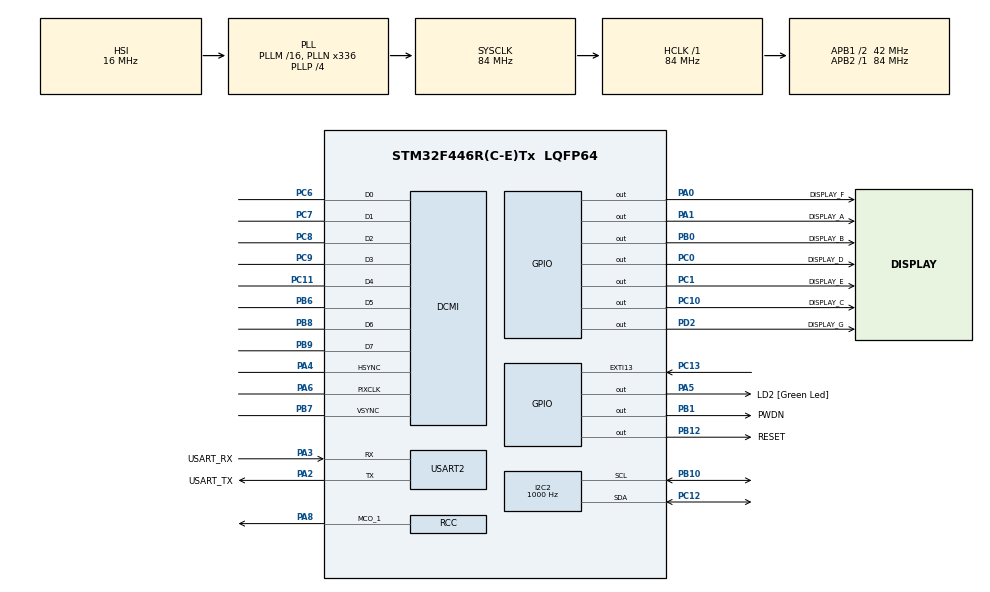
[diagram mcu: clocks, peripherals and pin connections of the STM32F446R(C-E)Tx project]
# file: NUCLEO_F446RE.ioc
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DCMI.JPEGMode=DCMI_JPEG_DISABLE
DCMI.PCKPolarity=DCMI_PCKPOLARITY_RISING
Dma.DCMI.0.Direction=DMA_PERIPH_TO_MEMORY
Dma.DCMI.0.FIFOMode=DMA_FIFOMODE_ENABLE
Dma.DCMI.0.FIFOThreshold=DMA_FIFO_THRESHOLD_FULL
Dma.DCMI.0.Instance=DMA2_Stream1
Dma.DCMI.0.MemBurst=DMA_MBURST_SINGLE
Dma.DCMI.0.MemDataAlignment=DMA_MDATAALIGN_BYTE
Dma.DCMI.0.MemInc=DMA_MINC_ENABLE
Dma.DCMI.0.Mode=DMA_NORMAL
Dma.DCMI.0.PeriphBurst=DMA_PBURST_SINGLE
Dma.DCMI.0.PeriphDataAlignment=DMA_PDATAALIGN_WORD
Dma.DCMI.0.PeriphInc=DMA_PINC_DISABLE
Dma.DCMI.0.Priority=DMA_PRIORITY_VERY_HIGH
Dma.Request0=DCMI
Dma.Request1=USART2_TX
Dma.USART2_TX.1.Direction=DMA_MEMORY_TO_PERIPH
Dma.USART2_TX.1.FIFOMode=DMA_FIFOMODE_ENABLE
Dma.USART2_TX.1.FIFOThreshold=DMA_FIFO_THRESHOLD_FULL
Dma.USART2_TX.1.Instance=DMA1_Stream6
Dma.USART2_TX.1.MemBurst=DMA_MBURST_SINGLE
Dma.USART2_TX.1.MemDataAlignment=DMA_MDATAALIGN_BYTE
Dma.USART2_TX.1.MemInc=DMA_MINC_ENABLE
Dma.USART2_TX.1.Mode=DMA_NORMAL
Dma.USART2_TX.1.PeriphBurst=DMA_PBURST_SINGLE
Dma.USART2_TX.1.PeriphDataAlignment=DMA_PDATAALIGN_BYTE
Dma.USART2_TX.1.PeriphInc=DMA_PINC_DISABLE
Dma.USART2_TX.1.Priority=DMA_PRIORITY_VERY_HIGH
I2C2.ClockSpeed=1000
Mcu.Family=STM32F4
Mcu.Name=STM32F446R(C-E)Tx
Mcu.Package=LQFP64
NVIC.DCMI_IRQn=true\:0\:0\:false\:false\:true\:true\:true\:true
NVIC.DMA1_Stream6_IRQn=true\:0\:0\:false\:false\:true\:false\:true\:true
NVIC.DMA2_Stream1_IRQn=true\:0\:0\:false\:false\:true\:false\:true\:true
NVIC.EXTI15_10_IRQn=true\:5\:0\:true\:false\:true\:true\:true\:true
NVIC.PriorityGroup=NVIC_PRIORITYGROUP_4
NVIC.USART2_IRQn=true\:0\:0\:false\:false\:true\:true\:true\:true
PA0-WKUP.GPIO_Label=DISPLAY_F
PA0-WKUP.Signal=GPIO_Output
PA1.GPIO_Label=DISPLAY_A
PA1.Signal=GPIO_Output
PA13.GPIO_Label=TMS
PA13.Mode=Serial_Wire
PA13.Signal=SYS_JTMS-SWDIO
PA14.GPIO_Label=TCK
PA14.Mode=Serial_Wire
PA14.Signal=SYS_JTCK-SWCLK
PA2.GPIO_Label=USART_TX
PA2.Mode=Asynchronous
PA2.Signal=USART2_TX
PA3.GPIO_Label=USART_RX
PA3.Mode=Asynchronous
PA3.Signal=USART2_RX
PA4.Mode=Slave_8_bits_External_Synchro
PA4.Signal=DCMI_HSYNC
PA5.GPIO_Label=LD2 [Green Led]
PA5.Signal=GPIO_Output
PA6.Mode=Slave_8_bits_External_Synchro
PA6.Signal=DCMI_PIXCLK
PA8.GPIO_Speed=GPIO_SPEED_FREQ_VERY_HIGH
PA8.Mode=Clock-out-1
PA8.Signal=RCC_MCO_1
PB0.GPIO_Label=DISPLAY_B
PB0.Signal=GPIO_Output
PB1.GPIO_Label=PWDN
PB1.PinState=GPIO_PIN_RESET
PB1.Signal=GPIO_Output
PB10.GPIO_Pu=GPIO_PULLUP
PB10.Mode=I2C
PB10.Signal=I2C2_SCL
PB12.GPIO_Label=RESET
PB12.PinState=GPIO_PIN_SET
PB12.Signal=GPIO_Output
PB3.GPIO_Label=SWO
PB3.Signal=SYS_JTDO-SWO
PB6.Mode=Slave_8_bits_External_Synchro
PB6.Signal=DCMI_D5
PB7.Mode=Slave_8_bits_External_Synchro
PB7.Signal=DCMI_VSYNC
PB8.Mode=Slave_8_bits_External_Synchro
PB8.Signal=DCMI_D6
PB9.Mode=Slave_8_bits_External_Synchro
PB9.Signal=DCMI_D7
PC0.GPIO_Label=DISPLAY_D
PC0.Signal=GPIO_Output
PC1.GPIO_Label=DISPLAY_E
PC1.Signal=GPIO_Output
PC10.GPIO_Label=DISPLAY_C
PC10.Signal=GPIO_Output
PC11.Mode=Slave_8_bits_External_Synchro
PC11.Signal=DCMI_D4
PC12.GPIO_Pu=GPIO_PULLUP
PC12.Mode=I2C
PC12.Signal=I2C2_SDA
PC13.GPIO_ModeDefaultEXTI=GPIO_MODE_IT_FALLING
PC13.Signal=GPXTI13
PC14-OSC32_IN.Mode=LSE-External-Oscillator
PC14-OSC32_IN.Signal=RCC_OSC32_IN
PC15-OSC32_OUT.Mode=LSE-External-Oscillator
PC15-OSC32_OUT.Signal=RCC_OSC32_OUT
PC6.Mode=Slave_8_bits_External_Synchro
PC6.Signal=DCMI_D0
PC7.Mode=Slave_8_bits_External_Synchro
PC7.Signal=DCMI_D1
PC8.Mode=Slave_8_bits_External_Synchro
PC8.Signal=DCMI_D2
PC9.Mode=Slave_8_bits_External_Synchro
PC9.Signal=DCMI_D3
PD2.GPIO_Label=DISPLAY_G
PD2.Signal=GPIO_Output
PH0-OSC_IN.Mode=HSE-External-Oscillator
PH0-OSC_IN.Signal=RCC_OSC_IN
PH1-OSC_OUT.Mode=HSE-External-Oscillator
PH1-OSC_OUT.Signal=RCC_OSC_OUT
ProjectManager.HeapSize=0x200
ProjectManager.StackSize=0x400
ProjectManager.TargetToolchain=STM32CubeIDE
RCC.48MHZClocksFreq_Value=84000000
RCC.AHBFreq_Value=84000000
RCC.APB1CLKDivider=RCC_HCLK_DIV2
RCC.APB1Freq_Value=42000000
RCC.APB1TimFreq_Value=84000000
RCC.APB2Freq_Value=84000000
RCC.APB2TimFreq_Value=84000000
RCC.CortexFreq_Value=84000000
RCC.FLatency-AdvancedSettings=FLASH_LATENCY_2
RCC.HCLKFreq_Value=84000000
RCC.HSE_VALUE=8000000
RCC.HSI_VALUE=16000000
RCC.PLLN=336
RCC.PLLP=RCC_PLLP_DIV4
RCC.RCC_MCO1Source=RCC_MCO1SOURCE_PLLCLK
RCC.RCC_MCODiv1=RCC_MCODIV_3
RCC.SYSCLKFreq_VALUE=84000000
RCC.SYSCLKSource=RCC_SYSCLKSOURCE_PLLCLK
RCC.USBFreq_Value=168000000
RCC.VCOOutputFreq_Value=336000000
USART2.VirtualMode=VM_ASYNC
board=NUCLEO-F446RE

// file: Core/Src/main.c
/* USER CODE BEGIN Header */
/**
  ******************************************************************************
  * @file           : main.c
  * @brief          : Main program body
  ******************************************************************************
  * @attention
  *
  * Copyright (c) 2026 STMicroelectronics.
  * All rights reserved.
  *
  * This software is licensed under terms that can be found in the LICENSE file
  * in the root directory of this software component.
  * If no LICENSE file comes with this software, it is provided AS-IS.
  *
  ******************************************************************************
  */
/* USER CODE END Header */
#include "main.h"

/* USER CODE BEGIN Includes */
#include "app.h"
#include "serial.h"

/* USER CODE END Includes */

DCMI_HandleTypeDef hdcmi;
DMA_HandleTypeDef hdma_dcmi;

I2C_HandleTypeDef hi2c2;

UART_HandleTypeDef huart2;
DMA_HandleTypeDef hdma_usart2_tx;

void SystemClock_Config(void);
static void MX_GPIO_Init(void);
static void MX_DMA_Init(void);
static void MX_USART2_UART_Init(void);
static void MX_DCMI_Init(void);
static void MX_I2C2_Init(void);

int main(void)
{

  /* MCU Configuration--------------------------------------------------------*/

  /* Reset of all peripherals, Initializes the Flash interface and the Systick. */
  HAL_Init();

  /* Configure the system clock */
  SystemClock_Config();

  /* Initialize all configured peripherals */
  MX_GPIO_Init();
  MX_DMA_Init();
  MX_USART2_UART_Init();
  MX_DCMI_Init();
  MX_I2C2_Init();
  /* USER CODE BEGIN 2 */

#ifdef DEBUG
  serial_print(&huart2, "\r\nBooting app on NUCLEO_F446RE\r\n");
#endif

  app_config_t app_config = {
    .i2c_handle = &hi2c2,
    .dcmi_handle = &hdcmi,
    .pwdn_gpio_port = PWDN_GPIO_Port,
    .pwdn_gpio_pin = PWDN_Pin,
    .reset_gpio_port = RESET_GPIO_Port,
    .reset_gpio_pin = RESET_Pin,
    .uart = &huart2,
    .display_config =
        {
            .pins =
                {
                    [DISPLAY_A] = {DISPLAY_A_GPIO_Port, DISPLAY_A_Pin},
                    [DISPLAY_B] = {DISPLAY_B_GPIO_Port, DISPLAY_B_Pin},
                    [DISPLAY_C] = {DISPLAY_C_GPIO_Port, DISPLAY_C_Pin},
                    [DISPLAY_D] = {DISPLAY_D_GPIO_Port, DISPLAY_D_Pin},
                    [DISPLAY_E] = {DISPLAY_E_GPIO_Port, DISPLAY_E_Pin},
                    [DISPLAY_F] = {DISPLAY_F_GPIO_Port, DISPLAY_F_Pin},
                    [DISPLAY_G] = {DISPLAY_G_GPIO_Port, DISPLAY_G_Pin},
                },
        },
  };

  // Retry until the camera answers so a loose or late-powered module recovers
  // without a board reset
  while (app_init(&app_config) != HAL_OK)
  {
#ifdef DEBUG
    serial_print(&huart2, "Camera init failed, retrying in 1s\r\n");
#endif
    HAL_Delay(1000U);
  }

  HAL_Delay(10U);

#ifdef DEBUG
  serial_print(&huart2, "App init complete\r\n");
  serial_print(&huart2, "Press B1 to capture one frame\r\n");
#endif

  /* USER CODE END 2 */

  /* Infinite loop */
  /* USER CODE BEGIN WHILE */
  while (1)
  {
    app_run();

    /* USER CODE END WHILE */

  }
}

void SystemClock_Config(void)
{
  RCC_OscInitTypeDef RCC_OscInitStruct = {0};
  RCC_ClkInitTypeDef RCC_ClkInitStruct = {0};

  /** Configure the main internal regulator output voltage
  */
  __HAL_RCC_PWR_CLK_ENABLE();
  __HAL_PWR_VOLTAGESCALING_CONFIG(PWR_REGULATOR_VOLTAGE_SCALE3);

  /** Initializes the RCC Oscillators according to the specified parameters
  * in the RCC_OscInitTypeDef structure.
  */
  RCC_OscInitStruct.OscillatorType = RCC_OSCILLATORTYPE_HSI;
  RCC_OscInitStruct.HSIState = RCC_HSI_ON;
  RCC_OscInitStruct.HSICalibrationValue = RCC_HSICALIBRATION_DEFAULT;
  RCC_OscInitStruct.PLL.PLLState = RCC_PLL_ON;
  RCC_OscInitStruct.PLL.PLLSource = RCC_PLLSOURCE_HSI;
  RCC_OscInitStruct.PLL.PLLM = 16;
  RCC_OscInitStruct.PLL.PLLN = 336;
  RCC_OscInitStruct.PLL.PLLP = RCC_PLLP_DIV4;
  RCC_OscInitStruct.PLL.PLLQ = 2;
  RCC_OscInitStruct.PLL.PLLR = 2;
  if (HAL_RCC_OscConfig(&RCC_OscInitStruct) != HAL_OK)
  {
    Error_Handler();
  }

  /** Initializes the CPU, AHB and APB buses clocks
  */
  RCC_ClkInitStruct.ClockType = RCC_CLOCKTYPE_HCLK|RCC_CLOCKTYPE_SYSCLK
                              |RCC_CLOCKTYPE_PCLK1|RCC_CLOCKTYPE_PCLK2;
  RCC_ClkInitStruct.SYSCLKSource = RCC_SYSCLKSOURCE_PLLCLK;
  RCC_ClkInitStruct.AHBCLKDivider = RCC_SYSCLK_DIV1;
  RCC_ClkInitStruct.APB1CLKDivider = RCC_HCLK_DIV2;
  RCC_ClkInitStruct.APB2CLKDivider = RCC_HCLK_DIV1;

  if (HAL_RCC_ClockConfig(&RCC_ClkInitStruct, FLASH_LATENCY_2) != HAL_OK)
  {
    Error_Handler();
  }
  HAL_RCC_MCOConfig(RCC_MCO1, RCC_MCO1SOURCE_PLLCLK, RCC_MCODIV_3);
}

static void MX_DCMI_Init(void)
{

  hdcmi.Instance = DCMI;
  hdcmi.Init.SynchroMode = DCMI_SYNCHRO_HARDWARE;
  hdcmi.Init.PCKPolarity = DCMI_PCKPOLARITY_RISING;
  hdcmi.Init.VSPolarity = DCMI_VSPOLARITY_LOW;
  hdcmi.Init.HSPolarity = DCMI_HSPOLARITY_LOW;
  hdcmi.Init.CaptureRate = DCMI_CR_ALL_FRAME;
  hdcmi.Init.ExtendedDataMode = DCMI_EXTEND_DATA_8B;
  hdcmi.Init.JPEGMode = DCMI_JPEG_DISABLE;
  hdcmi.Init.ByteSelectMode = DCMI_BSM_ALL;
  hdcmi.Init.ByteSelectStart = DCMI_OEBS_ODD;
  hdcmi.Init.LineSelectMode = DCMI_LSM_ALL;
  hdcmi.Init.LineSelectStart = DCMI_OELS_ODD;
  if (HAL_DCMI_Init(&hdcmi) != HAL_OK)
  {
    Error_Handler();
  }

}

static void MX_I2C2_Init(void)
{

  hi2c2.Instance = I2C2;
  hi2c2.Init.ClockSpeed = 1000;
  hi2c2.Init.DutyCycle = I2C_DUTYCYCLE_2;
  hi2c2.Init.OwnAddress1 = 0;
  hi2c2.Init.AddressingMode = I2C_ADDRESSINGMODE_7BIT;
  hi2c2.Init.DualAddressMode = I2C_DUALADDRESS_DISABLE;
  hi2c2.Init.OwnAddress2 = 0;
  hi2c2.Init.GeneralCallMode = I2C_GENERALCALL_DISABLE;
  hi2c2.Init.NoStretchMode = I2C_NOSTRETCH_DISABLE;
  if (HAL_I2C_Init(&hi2c2) != HAL_OK)
  {
    Error_Handler();
  }

}

static void MX_USART2_UART_Init(void)
{

  huart2.Instance = USART2;
  huart2.Init.BaudRate = 115200;
  huart2.Init.WordLength = UART_WORDLENGTH_8B;
  huart2.Init.StopBits = UART_STOPBITS_1;
  huart2.Init.Parity = UART_PARITY_NONE;
  huart2.Init.Mode = UART_MODE_TX_RX;
  huart2.Init.HwFlowCtl = UART_HWCONTROL_NONE;
  huart2.Init.OverSampling = UART_OVERSAMPLING_16;
  if (HAL_UART_Init(&huart2) != HAL_OK)
  {
    Error_Handler();
  }

}

static void MX_DMA_Init(void)
{

  /* DMA controller clock enable */
  __HAL_RCC_DMA2_CLK_ENABLE();
  __HAL_RCC_DMA1_CLK_ENABLE();

  /* DMA interrupt init */
  /* DMA1_Stream6_IRQn interrupt configuration */
  HAL_NVIC_SetPriority(DMA1_Stream6_IRQn, 0, 0);
  HAL_NVIC_EnableIRQ(DMA1_Stream6_IRQn);
  /* DMA2_Stream1_IRQn interrupt configuration */
  HAL_NVIC_SetPriority(DMA2_Stream1_IRQn, 0, 0);
  HAL_NVIC_EnableIRQ(DMA2_Stream1_IRQn);

}

static void MX_GPIO_Init(void)
{
  GPIO_InitTypeDef GPIO_InitStruct = {0};

  /* GPIO Ports Clock Enable */
  __HAL_RCC_GPIOC_CLK_ENABLE();
  __HAL_RCC_GPIOH_CLK_ENABLE();
  __HAL_RCC_GPIOA_CLK_ENABLE();
  __HAL_RCC_GPIOB_CLK_ENABLE();
  __HAL_RCC_GPIOD_CLK_ENABLE();

  /*Configure GPIO pin Output Level */
  HAL_GPIO_WritePin(GPIOC, DISPLAY_D_Pin|DISPLAY_E_Pin|DISPLAY_C_Pin, GPIO_PIN_RESET);

  /*Configure GPIO pin Output Level */
  HAL_GPIO_WritePin(GPIOA, DISPLAY_F_Pin|DISPLAY_A_Pin|LD2_Pin, GPIO_PIN_RESET);

  /*Configure GPIO pin Output Level */
  HAL_GPIO_WritePin(GPIOB, DISPLAY_B_Pin|PWDN_Pin, GPIO_PIN_RESET);

  /*Configure GPIO pin Output Level */
  HAL_GPIO_WritePin(RESET_GPIO_Port, RESET_Pin, GPIO_PIN_SET);

  /*Configure GPIO pin Output Level */
  HAL_GPIO_WritePin(DISPLAY_G_GPIO_Port, DISPLAY_G_Pin, GPIO_PIN_RESET);

  /*Configure GPIO pin : PC13 */
  GPIO_InitStruct.Pin = GPIO_PIN_13;
  GPIO_InitStruct.Mode = GPIO_MODE_IT_FALLING;
  GPIO_InitStruct.Pull = GPIO_NOPULL;
  HAL_GPIO_Init(GPIOC, &GPIO_InitStruct);

  /*Configure GPIO pins : DISPLAY_D_Pin DISPLAY_E_Pin DISPLAY_C_Pin */
  GPIO_InitStruct.Pin = DISPLAY_D_Pin|DISPLAY_E_Pin|DISPLAY_C_Pin;
  GPIO_InitStruct.Mode = GPIO_MODE_OUTPUT_PP;
  GPIO_InitStruct.Pull = GPIO_NOPULL;
  GPIO_InitStruct.Speed = GPIO_SPEED_FREQ_LOW;
  HAL_GPIO_Init(GPIOC, &GPIO_InitStruct);

  /*Configure GPIO pins : DISPLAY_F_Pin DISPLAY_A_Pin LD2_Pin */
  GPIO_InitStruct.Pin = DISPLAY_F_Pin|DISPLAY_A_Pin|LD2_Pin;
  GPIO_InitStruct.Mode = GPIO_MODE_OUTPUT_PP;
  GPIO_InitStruct.Pull = GPIO_NOPULL;
  GPIO_InitStruct.Speed = GPIO_SPEED_FREQ_LOW;
  HAL_GPIO_Init(GPIOA, &GPIO_InitStruct);

  /*Configure GPIO pins : DISPLAY_B_Pin PWDN_Pin RESET_Pin */
  GPIO_InitStruct.Pin = DISPLAY_B_Pin|PWDN_Pin|RESET_Pin;
  GPIO_InitStruct.Mode = GPIO_MODE_OUTPUT_PP;
  GPIO_InitStruct.Pull = GPIO_NOPULL;
  GPIO_InitStruct.Speed = GPIO_SPEED_FREQ_LOW;
  HAL_GPIO_Init(GPIOB, &GPIO_InitStruct);

  /*Configure GPIO pin : PA8 */
  GPIO_InitStruct.Pin = GPIO_PIN_8;
  GPIO_InitStruct.Mode = GPIO_MODE_AF_PP;
  GPIO_InitStruct.Pull = GPIO_NOPULL;
  GPIO_InitStruct.Speed = GPIO_SPEED_FREQ_VERY_HIGH;
  GPIO_InitStruct.Alternate = GPIO_AF0_MCO;
  HAL_GPIO_Init(GPIOA, &GPIO_InitStruct);

  /*Configure GPIO pin : DISPLAY_G_Pin */
  GPIO_InitStruct.Pin = DISPLAY_G_Pin;
  GPIO_InitStruct.Mode = GPIO_MODE_OUTPUT_PP;
  GPIO_InitStruct.Pull = GPIO_NOPULL;
  GPIO_InitStruct.Speed = GPIO_SPEED_FREQ_LOW;
  HAL_GPIO_Init(DISPLAY_G_GPIO_Port, &GPIO_InitStruct);

  /* EXTI interrupt init*/
  HAL_NVIC_SetPriority(EXTI15_10_IRQn, 5, 0);
  HAL_NVIC_EnableIRQ(EXTI15_10_IRQn);

}

/* USER CODE BEGIN 4 */
#ifdef DEBUG
void HAL_GPIO_EXTI_Callback(uint16_t GPIO_Pin)
{
  if (GPIO_Pin == GPIO_PIN_13) {
    app_request_frame_send_from_isr();
  }
}
#endif

/* USER CODE END 4 */

void Error_Handler(void)
{
  __disable_irq();
  while (1)
  {
  }
}
